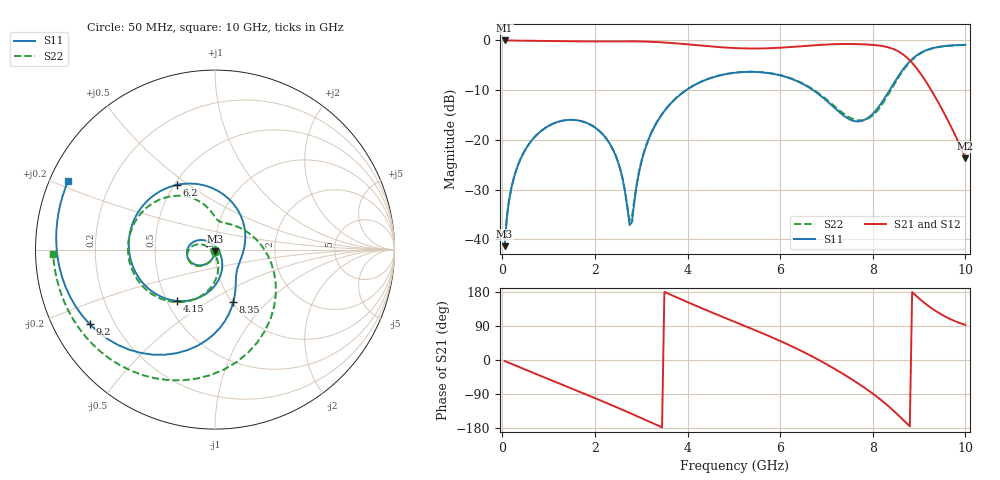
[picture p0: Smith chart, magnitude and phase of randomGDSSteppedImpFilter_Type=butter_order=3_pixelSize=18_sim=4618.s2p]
! freq	dB(S11)	phase(S11)	dB(S12)	phase(S12)
!  dB(S21)	phase(S21)	dB(S22)	phase(S22)
!S-par simulation data
#  GHz  S  DB  R 50
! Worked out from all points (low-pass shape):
!   200 points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, 50 MHz to 10 GHz, reference 50 ohm
!   highest |S21| = 0.00 dB at 50 MHz (marker M1); lowest = -23.7 dB at 10 GHz (marker M2)
!   |S21| within 3 dB of the highest: start of sweep to 8.68 GHz
!   lowest |S11| = -41.4 dB at 50 MHz (marker M3), VSWR 1.02, Z = 50 - j0.853 ohm
!   |S11| at or under -10 dB: start of sweep to 3.971 GHz; 6.712 GHz to 8.363 GHz (1.651 GHz wide, 21.9 % of centre)
!   |S22| runs from -41.4 to -0.9 dB; largest |S21 - S12| = 0
!   S11 on the Smith chart (normalised r, x): 50 MHz: 1.00, -0.02; 4.15 GHz: 0.56, -0.37; 6.2 GHz: 0.52, +0.45; 8.35 GHz: 1.01, -0.65; 9.2 GHz: 0.11, -0.27; 10 GHz: 0.05, +0.22
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0.05  -41.37 -92.0  -0.00 -2.6  -0.00 -2.6  -41.36 -91.8
0.2  -29.49 -100.4  -0.02 -10.3  -0.02 -10.3  -29.49 -99.8
0.55  -21.19 -119.4  -0.07 -28.0  -0.07 -28.0  -21.19 -117.7
1.75  -16.34 177.7  -0.20 -87.9  -0.20 -87.9  -16.34 -174.9
2.4  -22.14 138.6  -0.17 -121.1  -0.17 -121.1  -22.14 158.6
2.6  -27.91 118.6  -0.16 -131.6  -0.16 -131.6  -27.86 159.0
2.75  -37.14 58.1  -0.17 -139.6  -0.17 -139.6  -36.17 -155.2
3.05  -22.84 -57.4  -0.22 -155.8  -0.22 -155.8  -22.73 -77.3
3.4  -15.52 -82.8  -0.36 -174.9  -0.36 -174.9  -15.47 -89.0
4.15  -8.98 -126.5  -0.91 144.8  -0.91 144.8  -8.95 -124.8
5.05  -6.47 -174.5  -1.55 99.2  -1.55 99.2  -6.44 -167.1
6.2  -7.58 120.3  -1.35 39.1  -1.35 39.1  -7.51 139.6
6.7  -9.92 84.2  -0.99 8.8  -0.99 8.8  -9.78 115.9
7.2  -13.77 36.7  -0.75 -25.2  -0.75 -25.2  -13.44 95.8
7.75  -16.21 -29.0  -0.76 -67.2  -0.76 -67.2  -16.07 73.0
8.05  -14.26 -52.8  -0.94 -93.2  -0.94 -93.2  -14.63 40.2
8.35  -10.20 -70.7  -1.43 -123.1  -1.43 -123.1  -10.63 -5.7
8.7  -5.27 -100.4  -3.15 -163.2  -3.15 -163.2  -5.48 -58.4
8.95  -3.00 -125.6  -5.63 167.9  -5.63 167.9  -3.11 -91.9
9.2  -1.80 -149.3  -9.04 142.8  -9.04 142.8  -1.86 -119.9
9.55  -1.13 -176.9  -14.79 115.6  -14.79 115.6  -1.16 -150.1
10  -0.89 154.9  -23.66 92.7  -23.66 92.7  -0.89 -178.6
